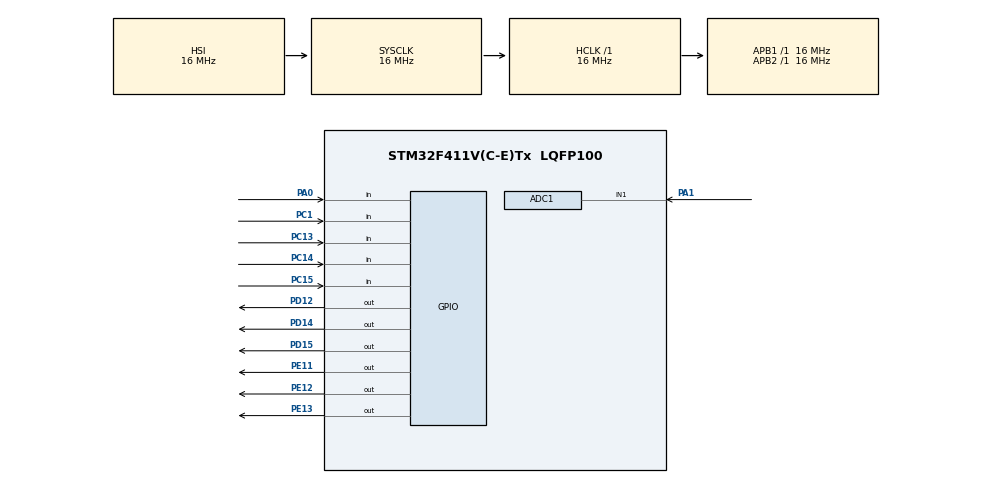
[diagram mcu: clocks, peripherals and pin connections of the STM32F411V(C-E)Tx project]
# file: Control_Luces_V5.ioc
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ADC1.Channel-16\#ChannelRegularConversion=ADC_CHANNEL_1
ADC1.NbrOfConversionFlag=1
ADC1.Rank-16\#ChannelRegularConversion=1
ADC1.Resolution=ADC_RESOLUTION_10B
ADC1.SamplingTime-16\#ChannelRegularConversion=ADC_SAMPLETIME_3CYCLES
ADC1.master=1
Mcu.Family=STM32F4
Mcu.Name=STM32F411V(C-E)Tx
Mcu.Package=LQFP100
NVIC.ADC_IRQn=true\:0\:0\:false\:true\:true\:3\:true
NVIC.PriorityGroup=NVIC_PRIORITYGROUP_4
NVIC.TIM2_IRQn=true\:0\:0\:false\:true\:true\:1\:true
NVIC.TIM3_IRQn=true\:0\:0\:false\:true\:true\:2\:true
PA0-WKUP.Signal=GPIO_Input
PA1.Signal=ADCx_IN1
PC1.Signal=GPIO_Input
PC13-ANTI_TAMP.Signal=GPIO_Input
PC14-OSC32_IN.Signal=GPIO_Input
PC15-OSC32_OUT.Signal=GPIO_Input
PD12.Signal=GPIO_Output
PD14.Signal=GPIO_Output
PD15.Signal=GPIO_Output
PE11.Signal=GPIO_Output
PE12.Signal=GPIO_Output
PE13.Signal=GPIO_Output
ProjectManager.HeapSize=0x200
ProjectManager.StackSize=0x400
ProjectManager.TargetToolchain=MDK-ARM V5
RCC.AHBFreq_Value=16000000
RCC.APB1Freq_Value=16000000
RCC.APB2Freq_Value=16000000
RCC.CortexFreq_Value=16000000
RCC.HSE_VALUE=25000000
RCC.HSI_VALUE=16000000
RCC.LSE_VALUE=32768
RCC.SYSCLKFreq_VALUE=16000000
RCC.VCOOutputFreq_Value=192000000
SH.ADCx_IN1.0=ADC1_IN1,IN1
TIM2.Period=500
TIM2.Prescaler=9999
TIM3.Period=1600
TIM3.Prescaler=35999
VP_TIM2_VS_ClockSourceINT.Mode=Internal
VP_TIM3_VS_ClockSourceINT.Mode=Internal
board=custom

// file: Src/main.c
/* USER CODE BEGIN Header */
/**
  ******************************************************************************
  * @file           : main.c
  * @brief          : Main program body
  ******************************************************************************
  ** This notice applies to any and all portions of this file
  * that are not between comment pairs USER CODE BEGIN and
  * USER CODE END. Other portions of this file, whether
  * inserted by the user or by software development tools
  * are owned by their respective copyright owners.
  *
  * COPYRIGHT(c) 2018 STMicroelectronics
  *
  * Redistribution and use in source and binary forms, with or without modification,
  * are permitted provided that the following conditions are met:
  *   1. Redistributions of source code must retain the above copyright notice,
  *      this list of conditions and the following disclaimer.
  *   2. Redistributions in binary form must reproduce the above copyright notice,
  *      this list of conditions and the following disclaimer in the documentation
  *      and/or other materials provided with the distribution.
  *   3. Neither the name of STMicroelectronics nor the names of its contributors
  *      may be used to endorse or promote products derived from this software
  *      without specific prior written permission.
  *
  * THIS SOFTWARE IS PROVIDED BY THE COPYRIGHT HOLDERS AND CONTRIBUTORS "AS IS"
  * AND ANY EXPRESS OR IMPLIED WARRANTIES, INCLUDING, BUT NOT LIMITED TO, THE
  * IMPLIED WARRANTIES OF MERCHANTABILITY AND FITNESS FOR A PARTICULAR PURPOSE ARE
  * DISCLAIMED. IN NO EVENT SHALL THE COPYRIGHT HOLDER OR CONTRIBUTORS BE LIABLE
  * FOR ANY DIRECT, INDIRECT, INCIDENTAL, SPECIAL, EXEMPLARY, OR CONSEQUENTIAL
  * DAMAGES (INCLUDING, BUT NOT LIMITED TO, PROCUREMENT OF SUBSTITUTE GOODS OR
  * SERVICES; LOSS OF USE, DATA, OR PROFITS; OR BUSINESS INTERRUPTION) HOWEVER
  * CAUSED AND ON ANY THEORY OF LIABILITY, WHETHER IN CONTRACT, STRICT LIABILITY,
  * OR TORT (INCLUDING NEGLIGENCE OR OTHERWISE) ARISING IN ANY WAY OUT OF THE USE
  * OF THIS SOFTWARE, EVEN IF ADVISED OF THE POSSIBILITY OF SUCH DAMAGE.
  *
  ******************************************************************************
  */
/* USER CODE END Header */

#include "main.h"

/* USER CODE BEGIN PD */
#define REF_Debounce 300

/* USER CODE END PD */

ADC_HandleTypeDef hadc1;
TIM_HandleTypeDef htim2;
TIM_HandleTypeDef htim3;

/* USER CODE BEGIN PV */
//Para modos de funcionamiento
volatile int EnEspera_Funcionando = 0;
volatile int user_mode = 0;

//Para el debounce
extern uint32_t last_time;
extern uint32_t counter_ms;

//Para estado de los pulsadores
int boton_pulsado_modo = 0;
int boton_pulsado_azul = 0;
int boton_pulsado_L1 = 0;
int boton_pulsado_L2 = 0;
int boton_pulsado_L3 = 0;
int N = 0;

//Para marcar en que momento de la secuencia de user_mode = 1 se encuentra
volatile int paso = 0;

//Para el conversor analógico-digital
uint32_t adcValue;
float temperature;
float temp_ambiente;
int temperatura_tomada;
int sensor_activa;
/* USER CODE END PV */

void SystemClock_Config(void);
static void MX_GPIO_Init(void);
static void MX_TIM2_Init(void);
static void MX_TIM3_Init(void);
static void MX_ADC1_Init(void);
static void MX_NVIC_Init(void);

/* USER CODE BEGIN PFP */
void ConfigureSysTick(void);
uint32_t millis(void);

/* USER CODE END PFP */

int main(void)
{

  /* MCU Configuration--------------------------------------------------------*/

  /* Reset of all peripherals, Initializes the Flash interface and the Systick. */
  HAL_Init();

  /* Configure the system clock */
  SystemClock_Config();

  /* Initialize all configured peripherals */
  MX_GPIO_Init();
  MX_TIM2_Init();
  MX_TIM3_Init();
  MX_ADC1_Init();

  /* Initialize interrupts */
  MX_NVIC_Init();
  /* USER CODE BEGIN 2 */

	//Inicialización de timers
	SysTick_Config(SystemCoreClock/1000); //Para interrupciones cada 1ms
	HAL_TIM_Base_Start_IT(&htim2);
	HAL_TIM_Base_Start_IT(&htim3);
	NVIC_DisableIRQ(TIM3_IRQn);

	//Inicialización de variables
	user_mode = 0;
	EnEspera_Funcionando = 0;
	boton_pulsado_modo = 0;
	boton_pulsado_azul = 0;
  boton_pulsado_L1 = 0;
  boton_pulsado_L2 = 0;
  boton_pulsado_L3 = 0;
	paso = 0;

	//Para el oonversor analógico-digital
	adcValue = 0;
	temperature = 0;
	temp_ambiente = 0;
	temperatura_tomada = 0;
	sensor_activa = 0;
  /* USER CODE END 2 */

  //////////////////////////////////// INFINITE LOOP //////////////////////////////////////
  while (1)
  {
		/* USER CODE BEGIN 3 */

		HAL_ADC_Start(&hadc1);

		if (HAL_ADC_PollForConversion(&hadc1, 5) == HAL_OK){
			adcValue = HAL_ADC_GetValue(&hadc1); //Si la conversión es exitosa, leemos el valor adc.
		}

		if(adcValue > 0){
			temperature = (float)adcValue/1024;
			temperature = temperature * 0.7; //Obtener temperatura en forma de voltaje
			temperature = temperature - 0.01;	//Resta el offset de la recta
			temperature = temperature * 100; //Obtener temperatura en forma de grados
		}

		if (temperatura_tomada == 0){
			temp_ambiente = temperature;
			temperatura_tomada = 1;
		}

		if (temperature >= (temp_ambiente + 2)){
			HAL_GPIO_WritePin(GPIOD, GPIO_PIN_15, GPIO_PIN_SET);
		}

		else{
			HAL_GPIO_WritePin(GPIOD, GPIO_PIN_15, GPIO_PIN_RESET);
		}

		HAL_Delay(100);

		if (HAL_GPIO_ReadPin(GPIOA, GPIO_PIN_0) == 1 && boton_pulsado_azul == 0){
			last_time = millis(); //Guarda el valor de millis()
			boton_pulsado_azul = 1;
		}

		if ((HAL_GPIO_ReadPin(GPIOA, GPIO_PIN_0) == 1) && ((millis() - last_time) > 200)){
			boton_pulsado_azul = 0;

			if (EnEspera_Funcionando == 0){
				HAL_GPIO_WritePin(GPIOE, GPIO_PIN_11, GPIO_PIN_RESET);
				HAL_GPIO_WritePin(GPIOE, GPIO_PIN_12, GPIO_PIN_RESET);
				HAL_GPIO_WritePin(GPIOE, GPIO_PIN_13, GPIO_PIN_RESET);
				EnEspera_Funcionando = 1;
			}

			else if(EnEspera_Funcionando == 1){
				HAL_GPIO_WritePin(GPIOE, GPIO_PIN_11, GPIO_PIN_RESET);
				HAL_GPIO_WritePin(GPIOE, GPIO_PIN_12, GPIO_PIN_RESET);
				HAL_GPIO_WritePin(GPIOE, GPIO_PIN_13, GPIO_PIN_RESET);
				EnEspera_Funcionando = 0;
			}
		}

		if (EnEspera_Funcionando == 0){

			HAL_GPIO_WritePin(GPIOD, GPIO_PIN_14, GPIO_PIN_RESET); //Led rojo se apaga

			//Se pulsa el boton de cambio de modo
			if ((HAL_GPIO_ReadPin(GPIOC, GPIO_PIN_1) == 0) && boton_pulsado_modo == 0){
					last_time = millis(); //Guarda el valor de millis()
					boton_pulsado_modo = 1;
			}

			//Se confirma que se ha pulsado y cambia a modo automático
			if((user_mode == 0 && HAL_GPIO_ReadPin(GPIOC, GPIO_PIN_1) == 0) && ((millis() - last_time) > REF_Debounce) && (boton_pulsado_modo == 1)){
					NVIC_EnableIRQ(TIM3_IRQn);
					HAL_GPIO_WritePin (GPIOD, GPIO_PIN_12, GPIO_PIN_SET); //Led verde encendido
					HAL_GPIO_WritePin(GPIOE, GPIO_PIN_11, GPIO_PIN_RESET);
					HAL_GPIO_WritePin(GPIOE, GPIO_PIN_12, GPIO_PIN_RESET);
					HAL_GPIO_WritePin(GPIOE, GPIO_PIN_13, GPIO_PIN_RESET);
					user_mode = 1;
					boton_pulsado_modo = 0;
			}

			//Se confirma que se ha pulsado y cambia a modo manual
			else if(user_mode == 1 && (HAL_GPIO_ReadPin(GPIOC, GPIO_PIN_1) == 0) && ((millis() - last_time) > REF_Debounce) && (boton_pulsado_modo == 1)){
					NVIC_DisableIRQ(TIM3_IRQn);
					HAL_GPIO_WritePin(GPIOE, GPIO_PIN_11, GPIO_PIN_RESET);
					HAL_GPIO_WritePin(GPIOE, GPIO_PIN_12, GPIO_PIN_RESET);
					HAL_GPIO_WritePin(GPIOE, GPIO_PIN_13, GPIO_PIN_RESET);
					user_mode = 0;
					boton_pulsado_modo = 0;
			}

			//Usuario en modo manual
			if (user_mode == 0){

				HAL_GPIO_WritePin (GPIOD, GPIO_PIN_12, GPIO_PIN_RESET); //Led verde apagado

				//Si se pulsa el primer pulsador...
				if (HAL_GPIO_ReadPin(GPIOC, GPIO_PIN_15) == 0 && boton_pulsado_L1 == 0){
					last_time = millis(); //Guarda el valor de millis()
					boton_pulsado_L1 = 1;
				}

				if ((HAL_GPIO_ReadPin(GPIOC, GPIO_PIN_15) == 0) && (millis() - last_time) > REF_Debounce && (boton_pulsado_L1 == 1)){
						HAL_GPIO_TogglePin(GPIOE, GPIO_PIN_11);
						boton_pulsado_L1 = 0;
				}

				//Si se pulsa el segundo pulsador...
				if (temperature <= (temp_ambiente + 2)){
					if (HAL_GPIO_ReadPin(GPIOC, GPIO_PIN_14) == 0 && boton_pulsado_L2 == 0){
						last_time = millis(); //Guarda el valor de millis()
						boton_pulsado_L2 = 1;
					}

					if ((HAL_GPIO_ReadPin(GPIOC, GPIO_PIN_14) == 0) && (millis() - last_time) > REF_Debounce && (boton_pulsado_L2 == 1)){
							HAL_GPIO_TogglePin(GPIOE, GPIO_PIN_12);
							boton_pulsado_L2 = 0;
					}
				}

				if (sensor_activa == 0 && temperature > (temp_ambiente + 2)){
					HAL_GPIO_WritePin(GPIOE, GPIO_PIN_12, GPIO_PIN_SET);
					sensor_activa = 1;
				}

				else if (sensor_activa == 1 && (temperature <= (temp_ambiente + 2))){
					HAL_GPIO_WritePin(GPIOE, GPIO_PIN_12, GPIO_PIN_RESET);
					sensor_activa = 0;
				}

				//Si se pulsa el tercer pulsador...
				if (HAL_GPIO_ReadPin(GPIOC, GPIO_PIN_13) == 0 && boton_pulsado_L3 == 0){
					last_time = millis(); //Guarda el valor de millis()
					boton_pulsado_L3 = 1;
				}

				if ((HAL_GPIO_ReadPin(GPIOC, GPIO_PIN_13) == 0) && (millis() - last_time) > REF_Debounce && (boton_pulsado_L3 == 1)){
						HAL_GPIO_TogglePin(GPIOE, GPIO_PIN_13);
						boton_pulsado_L3 = 0;
				}
			}
		}

		else if (EnEspera_Funcionando == 1){ //Modo standby
			HAL_GPIO_WritePin(GPIOD, GPIO_PIN_14, GPIO_PIN_SET); //Led rojo
			HAL_GPIO_WritePin (GPIOD, GPIO_PIN_12, GPIO_PIN_RESET); //Led verde
			HAL_GPIO_TogglePin(GPIOE, GPIO_PIN_11);
			HAL_GPIO_TogglePin(GPIOE, GPIO_PIN_12);
			HAL_GPIO_TogglePin(GPIOE, GPIO_PIN_13);
			HAL_Delay(200);
		}
  }
  /* USER CODE END 3 */
}

void SystemClock_Config(void)
{
  RCC_OscInitTypeDef RCC_OscInitStruct = {0};
  RCC_ClkInitTypeDef RCC_ClkInitStruct = {0};

  /**Configure the main internal regulator output voltage
  */
  __HAL_RCC_PWR_CLK_ENABLE();
  __HAL_PWR_VOLTAGESCALING_CONFIG(PWR_REGULATOR_VOLTAGE_SCALE1);
  /**Initializes the CPU, AHB and APB busses clocks
  */
  RCC_OscInitStruct.OscillatorType = RCC_OSCILLATORTYPE_HSI;
  RCC_OscInitStruct.HSIState = RCC_HSI_ON;
  RCC_OscInitStruct.HSICalibrationValue = RCC_HSICALIBRATION_DEFAULT;
  RCC_OscInitStruct.PLL.PLLState = RCC_PLL_NONE;
  if (HAL_RCC_OscConfig(&RCC_OscInitStruct) != HAL_OK)
  {
    Error_Handler();
  }
  /**Initializes the CPU, AHB and APB busses clocks
  */
  RCC_ClkInitStruct.ClockType = RCC_CLOCKTYPE_HCLK|RCC_CLOCKTYPE_SYSCLK
                              |RCC_CLOCKTYPE_PCLK1|RCC_CLOCKTYPE_PCLK2;
  RCC_ClkInitStruct.SYSCLKSource = RCC_SYSCLKSOURCE_HSI;
  RCC_ClkInitStruct.AHBCLKDivider = RCC_SYSCLK_DIV1;
  RCC_ClkInitStruct.APB1CLKDivider = RCC_HCLK_DIV1;
  RCC_ClkInitStruct.APB2CLKDivider = RCC_HCLK_DIV1;

  if (HAL_RCC_ClockConfig(&RCC_ClkInitStruct, FLASH_LATENCY_0) != HAL_OK)
  {
    Error_Handler();
  }
}

/**
  * @brief NVIC Configuration.
  * @retval None
  */
static void MX_NVIC_Init(void)
{
  /* TIM2_IRQn interrupt configuration */
  HAL_NVIC_SetPriority(TIM2_IRQn, 0, 0);
  HAL_NVIC_EnableIRQ(TIM2_IRQn);
  /* TIM3_IRQn interrupt configuration */
  HAL_NVIC_SetPriority(TIM3_IRQn, 0, 0);
  HAL_NVIC_EnableIRQ(TIM3_IRQn);
  /* ADC_IRQn interrupt configuration */
  HAL_NVIC_SetPriority(ADC_IRQn, 0, 0);
  HAL_NVIC_EnableIRQ(ADC_IRQn);
}

static void MX_ADC1_Init(void)
{

  ADC_ChannelConfTypeDef sConfig = {0};

  /**Configure the global features of the ADC (Clock, Resolution, Data Alignment and number of conversion)
  */
  hadc1.Instance = ADC1;
  hadc1.Init.ClockPrescaler = ADC_CLOCK_SYNC_PCLK_DIV2;
  hadc1.Init.Resolution = ADC_RESOLUTION_10B;
  hadc1.Init.ScanConvMode = DISABLE;
  hadc1.Init.ContinuousConvMode = DISABLE;
  hadc1.Init.DiscontinuousConvMode = DISABLE;
  hadc1.Init.ExternalTrigConvEdge = ADC_EXTERNALTRIGCONVEDGE_NONE;
  hadc1.Init.ExternalTrigConv = ADC_SOFTWARE_START;
  hadc1.Init.DataAlign = ADC_DATAALIGN_RIGHT;
  hadc1.Init.NbrOfConversion = 1;
  hadc1.Init.DMAContinuousRequests = DISABLE;
  hadc1.Init.EOCSelection = ADC_EOC_SINGLE_CONV;
  if (HAL_ADC_Init(&hadc1) != HAL_OK)
  {
    Error_Handler();
  }
  /**Configure for the selected ADC regular channel its corresponding rank in the sequencer and its sample time.
  */
  sConfig.Channel = ADC_CHANNEL_1;
  sConfig.Rank = 1;
  sConfig.SamplingTime = ADC_SAMPLETIME_3CYCLES;
  if (HAL_ADC_ConfigChannel(&hadc1, &sConfig) != HAL_OK)
  {
    Error_Handler();
  }

}

static void MX_TIM2_Init(void)
{

  TIM_ClockConfigTypeDef sClockSourceConfig = {0};
  TIM_MasterConfigTypeDef sMasterConfig = {0};

  htim2.Instance = TIM2;
  htim2.Init.Prescaler = 9999;
  htim2.Init.CounterMode = TIM_COUNTERMODE_UP;
  htim2.Init.Period = 500;
  htim2.Init.ClockDivision = TIM_CLOCKDIVISION_DIV1;
  if (HAL_TIM_Base_Init(&htim2) != HAL_OK)
  {
    Error_Handler();
  }
  sClockSourceConfig.ClockSource = TIM_CLOCKSOURCE_INTERNAL;
  if (HAL_TIM_ConfigClockSource(&htim2, &sClockSourceConfig) != HAL_OK)
  {
    Error_Handler();
  }
  sMasterConfig.MasterOutputTrigger = TIM_TRGO_RESET;
  sMasterConfig.MasterSlaveMode = TIM_MASTERSLAVEMODE_DISABLE;
  if (HAL_TIMEx_MasterConfigSynchronization(&htim2, &sMasterConfig) != HAL_OK)
  {
    Error_Handler();
  }

}

static void MX_TIM3_Init(void)
{

  TIM_ClockConfigTypeDef sClockSourceConfig = {0};
  TIM_MasterConfigTypeDef sMasterConfig = {0};

  htim3.Instance = TIM3;
  htim3.Init.Prescaler = 35999;
  htim3.Init.CounterMode = TIM_COUNTERMODE_UP;
  htim3.Init.Period = 1600;
  htim3.Init.ClockDivision = TIM_CLOCKDIVISION_DIV1;
  if (HAL_TIM_Base_Init(&htim3) != HAL_OK)
  {
    Error_Handler();
  }
  sClockSourceConfig.ClockSource = TIM_CLOCKSOURCE_INTERNAL;
  if (HAL_TIM_ConfigClockSource(&htim3, &sClockSourceConfig) != HAL_OK)
  {
    Error_Handler();
  }
  sMasterConfig.MasterOutputTrigger = TIM_TRGO_RESET;
  sMasterConfig.MasterSlaveMode = TIM_MASTERSLAVEMODE_DISABLE;
  if (HAL_TIMEx_MasterConfigSynchronization(&htim3, &sMasterConfig) != HAL_OK)
  {
    Error_Handler();
  }

}

static void MX_GPIO_Init(void)
{
  GPIO_InitTypeDef GPIO_InitStruct = {0};

  /* GPIO Ports Clock Enable */
  __HAL_RCC_GPIOC_CLK_ENABLE();
  __HAL_RCC_GPIOA_CLK_ENABLE();
  __HAL_RCC_GPIOE_CLK_ENABLE();
  __HAL_RCC_GPIOD_CLK_ENABLE();

  /*Configure GPIO pin Output Level */
  HAL_GPIO_WritePin(GPIOE, GPIO_PIN_11|GPIO_PIN_12|GPIO_PIN_13, GPIO_PIN_RESET);

  /*Configure GPIO pin Output Level */
  HAL_GPIO_WritePin(GPIOD, GPIO_PIN_12|GPIO_PIN_14|GPIO_PIN_15, GPIO_PIN_RESET);

  /*Configure GPIO pins : PC13 PC14 PC15 PC1 */
  GPIO_InitStruct.Pin = GPIO_PIN_13|GPIO_PIN_14|GPIO_PIN_15|GPIO_PIN_1;
  GPIO_InitStruct.Mode = GPIO_MODE_INPUT;
  GPIO_InitStruct.Pull = GPIO_NOPULL;
  HAL_GPIO_Init(GPIOC, &GPIO_InitStruct);

  /*Configure GPIO pin : PA0 */
  GPIO_InitStruct.Pin = GPIO_PIN_0;
  GPIO_InitStruct.Mode = GPIO_MODE_INPUT;
  GPIO_InitStruct.Pull = GPIO_NOPULL;
  HAL_GPIO_Init(GPIOA, &GPIO_InitStruct);

  /*Configure GPIO pins : PE11 PE12 PE13 */
  GPIO_InitStruct.Pin = GPIO_PIN_11|GPIO_PIN_12|GPIO_PIN_13;
  GPIO_InitStruct.Mode = GPIO_MODE_OUTPUT_PP;
  GPIO_InitStruct.Pull = GPIO_NOPULL;
  GPIO_InitStruct.Speed = GPIO_SPEED_FREQ_LOW;
  HAL_GPIO_Init(GPIOE, &GPIO_InitStruct);

  /*Configure GPIO pins : PD12 PD14 PD15 */
  GPIO_InitStruct.Pin = GPIO_PIN_12|GPIO_PIN_14|GPIO_PIN_15;
  GPIO_InitStruct.Mode = GPIO_MODE_OUTPUT_PP;
  GPIO_InitStruct.Pull = GPIO_NOPULL;
  GPIO_InitStruct.Speed = GPIO_SPEED_FREQ_LOW;
  HAL_GPIO_Init(GPIOD, &GPIO_InitStruct);

}

/* USER CODE BEGIN 4 */
void HAL_TIM_PeriodElapsedCallback(TIM_HandleTypeDef *htim)
{
	if (htim->Instance == TIM2){	//Si la fuente es TIM2

	}

	else if (htim->Instance == TIM3){	//Si la fuente es TIM3

		if (user_mode == 1){

			if (paso == 0){
				HAL_GPIO_TogglePin(GPIOE, GPIO_PIN_11);
				paso++;
			}

			else if (paso == 1){
				HAL_GPIO_TogglePin(GPIOE, GPIO_PIN_12);
				paso++;
			}

			else if (paso == 2){
				HAL_GPIO_TogglePin(GPIOE, GPIO_PIN_11);
				HAL_GPIO_TogglePin(GPIOE, GPIO_PIN_13);
				paso++;
			}

			else if (paso == 3){
				HAL_GPIO_TogglePin(GPIOE, GPIO_PIN_11);
				HAL_GPIO_TogglePin(GPIOE, GPIO_PIN_12);
				paso++;
			}

			else if (paso == 4){
				HAL_GPIO_TogglePin(GPIOE, GPIO_PIN_11);
				HAL_GPIO_TogglePin(GPIOE, GPIO_PIN_12);
				HAL_GPIO_TogglePin(GPIOE, GPIO_PIN_13);
				paso = 0;
			}
		}
	}
}

uint32_t millis() {
  return counter_ms;
}
/* USER CODE END 4 */

void Error_Handler(void)
{
}

/************************ (C) COPYRIGHT STMicroelectronics *****END OF FILE****/
